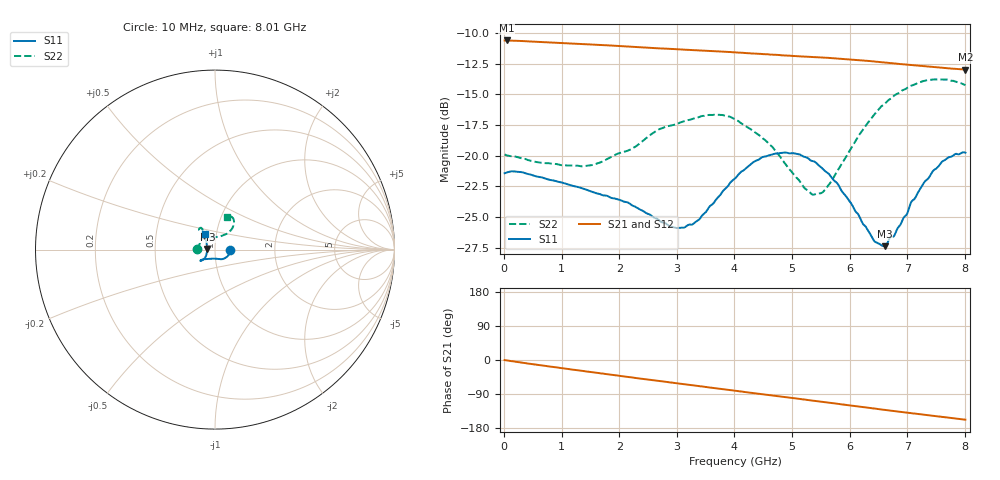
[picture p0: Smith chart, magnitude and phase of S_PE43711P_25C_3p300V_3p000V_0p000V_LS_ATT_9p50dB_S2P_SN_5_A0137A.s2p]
! Device ID: PE43711P
! File Path: z:\PE43711P\CHAR_NOM_04282014\AMB\3p300\LS_ATT_9p50dB\PE43711P_AMB_3p300V_3p000V_0p000V_LS_ATT_9p50dB_S2P_SN_5_A0137A.s2p
! Serial: 5
! Lot: A0137A
! Temp: 25C
! VDD: 3.300
! VSS: 0.000
! Control_Hi: 3.000
! Control_Lo: 0.000
! Attenuation Step: 9.50dB
! Port 1: RF1
! Port 2: RF2
! ThroughPath:1-2
! IDD: 0.000127779
! ISS: -3.99e-008
#  Hz  S  RI  R  50
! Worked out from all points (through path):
!   801 points, 10 MHz to 8.01 GHz, reference 50 ohm
!   highest |S21| = -10.61 dB at 50 MHz (marker M1); lowest = -13.0 dB at 8.01 GHz (marker M2)
!   group delay of S21, straight-line fit = 54.4 ps
!   lowest |S11| = -27.4 dB at 6.61 GHz (marker M3), VSWR 1.09, Z = 45.9 + j0.361 ohm
!   |S11| at or under -10 dB: start of sweep to end of sweep
!   |S22| runs from -23.2 to -13.8 dB; largest |S21 - S12| = 0.00056
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1e7  0.0847 -0.000225  0.2948 -0.00149  0.295 -0.0016  -0.1011 0.000808
5e7  0.0853 -0.00184  0.2947 -0.00609  0.295 -0.00605  -0.1002 0.00254
1.35e9  0.0564 -0.0473  0.2503 -0.1365  0.2505 -0.1367  -0.0811 0.0399
2.19e9  0.0339 -0.0537  0.1946 -0.1987  0.1949 -0.1987  -0.0674 0.0815
2.68e9  0.0175 -0.0519  0.1566 -0.2246  0.1566 -0.2247  -0.0675 0.1083
2.99e9  0.00247 -0.0506  0.1309 -0.238  0.1309 -0.2382  -0.0704 0.1141
3.28e9  -0.0138 -0.0507  0.1056 -0.2474  0.1058 -0.2476  -0.0746 0.1201
3.69e9  -0.0411 -0.0523  0.0699 -0.2568  0.0697 -0.2568  -0.0846 0.1199
4.01e9  -0.0602 -0.0537  0.0408 -0.2605  0.0406 -0.2606  -0.0885 0.1094
4.34e9  -0.0752 -0.057  0.0114 -0.2604  0.0113 -0.2606  -0.0796 0.0968
4.69e9  -0.0812 -0.061  -0.0191 -0.2569  -0.0193 -0.2569  -0.0641 0.0845
5.06e9  -0.0799 -0.0632  -0.0503 -0.2496  -0.0503 -0.2497  -0.0357 0.0739
5.35e9  -0.0738 -0.0599  -0.0735 -0.2414  -0.0736 -0.2417  -0.00817 0.0689
5.59e9  -0.066 -0.0549  -0.0925 -0.233  -0.0923 -0.2329  0.0184 0.0711
5.8e9  -0.0585 -0.0489  -0.1083 -0.2239  -0.1084 -0.2239  0.0406 0.0774
6.42e9  -0.0438 -0.0108  -0.149 -0.1908  -0.1492 -0.191  0.0927 0.1132
6.61e9  -0.0425 0.00392  -0.1591 -0.1792  -0.1591 -0.1795  0.1 0.1284
6.68e9  -0.0441 0.0108  -0.1627 -0.1749  -0.1626 -0.1752  0.1023 0.1342
7.05e9  -0.0479 0.0411  -0.1793 -0.1508  -0.1791 -0.1509  0.1054 0.1605
7.45e9  -0.0541 0.0677  -0.1933 -0.1239  -0.1934 -0.124  0.0935 0.1815
7.7e9  -0.0572 0.0793  -0.2002 -0.107  -0.2002 -0.1068  0.0812 0.1871
8.01e9  -0.055 0.0868  -0.2072 -0.0859  -0.2075 -0.0855  0.0689 0.1811
